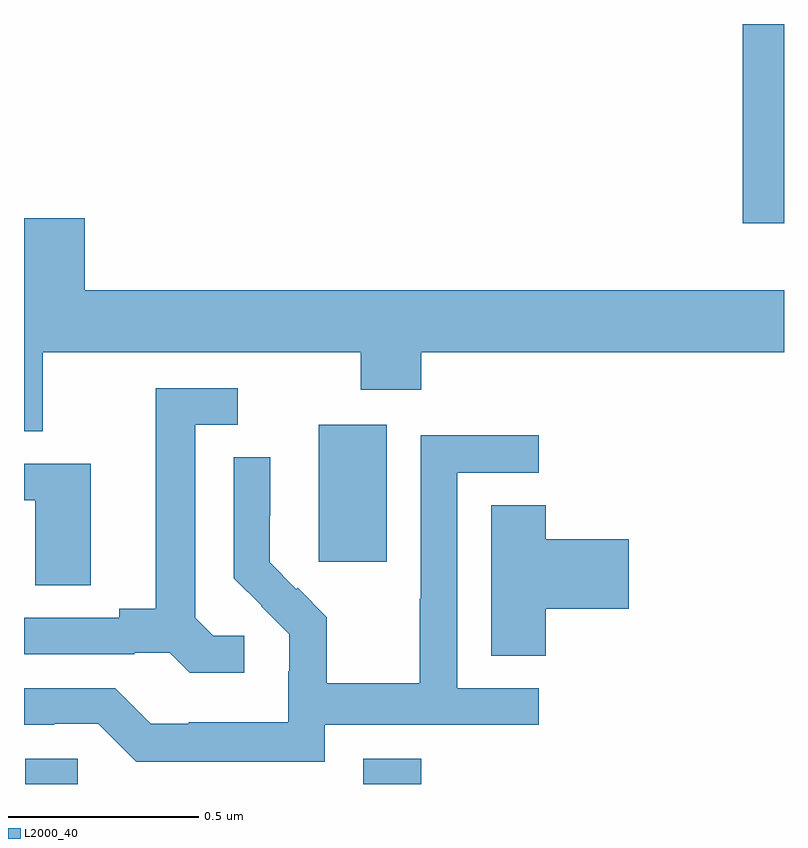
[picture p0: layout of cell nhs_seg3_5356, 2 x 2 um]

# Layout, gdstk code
import gdstk
lib = gdstk.Library(unit=1e-6, precision=1e-09)
def R(c, l, rs):  # rectangles x0, y0, x1, y1
    for r in rs: c.add(gdstk.rectangle(r[:2], r[2:], *l))
def P(c, l, *ps):  # polygons
    for p in ps: c.add(gdstk.Polygon(p, *l))
L2000_40 = (2000, 40)

nhs_seg3_5356 = lib.new_cell('nhs_seg3_5356')
R(nhs_seg3_5356, L2000_40, [(177.003,746.4,177.141,746.466), (177.893,746.4,178.046,746.467), (177.776,746.985,177.955,747.346), (178.892,747.876,179,748.4)])
P(nhs_seg3_5356, L2000_40, [(177.049,747.536),(177.886,747.536),(177.886,747.437),(178.046,747.437),(178.046,747.536),(179,747.536),(179,747.7),(177.16,747.7),(177.16,747.889),(177,747.889),(177,747.328),(177.049,747.328)],
  [(177.58,746.79),(177.498,746.79),(177.451,746.837),(177.451,747.345),(177.562,747.345),(177.562,747.441),(177.347,747.441),(177.347,746.861),(177.251,746.861),(177.251,746.838),(177,746.838),(177,746.742),(177.29,746.742),(177.29,746.745),(177.384,746.745),(177.436,746.693),(177.58,746.693)],
  [(177.792,746.556),(178.354,746.556),(178.354,746.652),(178.14,746.652),(178.14,747.219),(178.354,747.219),(178.354,747.318),(178.044,747.318),(178.044,746.888),(178.042,746.888),(178.042,746.665),(177.797,746.665),(177.797,746.839),(177.72,746.916),(177.717,746.913),(177.647,746.984),(177.647,747.106),(177.648,747.106),(177.648,747.26),(177.552,747.26),(177.552,746.942),(177.625,746.869),(177.624,746.868),(177.698,746.794),(177.698,746.697),(177.696,746.697),(177.696,746.563),(177.433,746.563),(177.433,746.559),(177.333,746.559),(177.24,746.652),(177,746.652),(177,746.556),(177.08,746.556),(177.08,746.559),(177.195,746.559),(177.295,746.459),(177.792,746.459)],
  [(177.175,747.243),(177,747.243),(177,747.147),(177.03,747.147),(177.03,746.923),(177.175,746.923)],
  [(178.373,746.861),(178.591,746.861),(178.591,747.044),(178.373,747.044),(178.373,747.134),(178.229,747.134),(178.229,746.737),(178.373,746.737)])

lib.write_gds('nhs_seg3_5356.gds')
